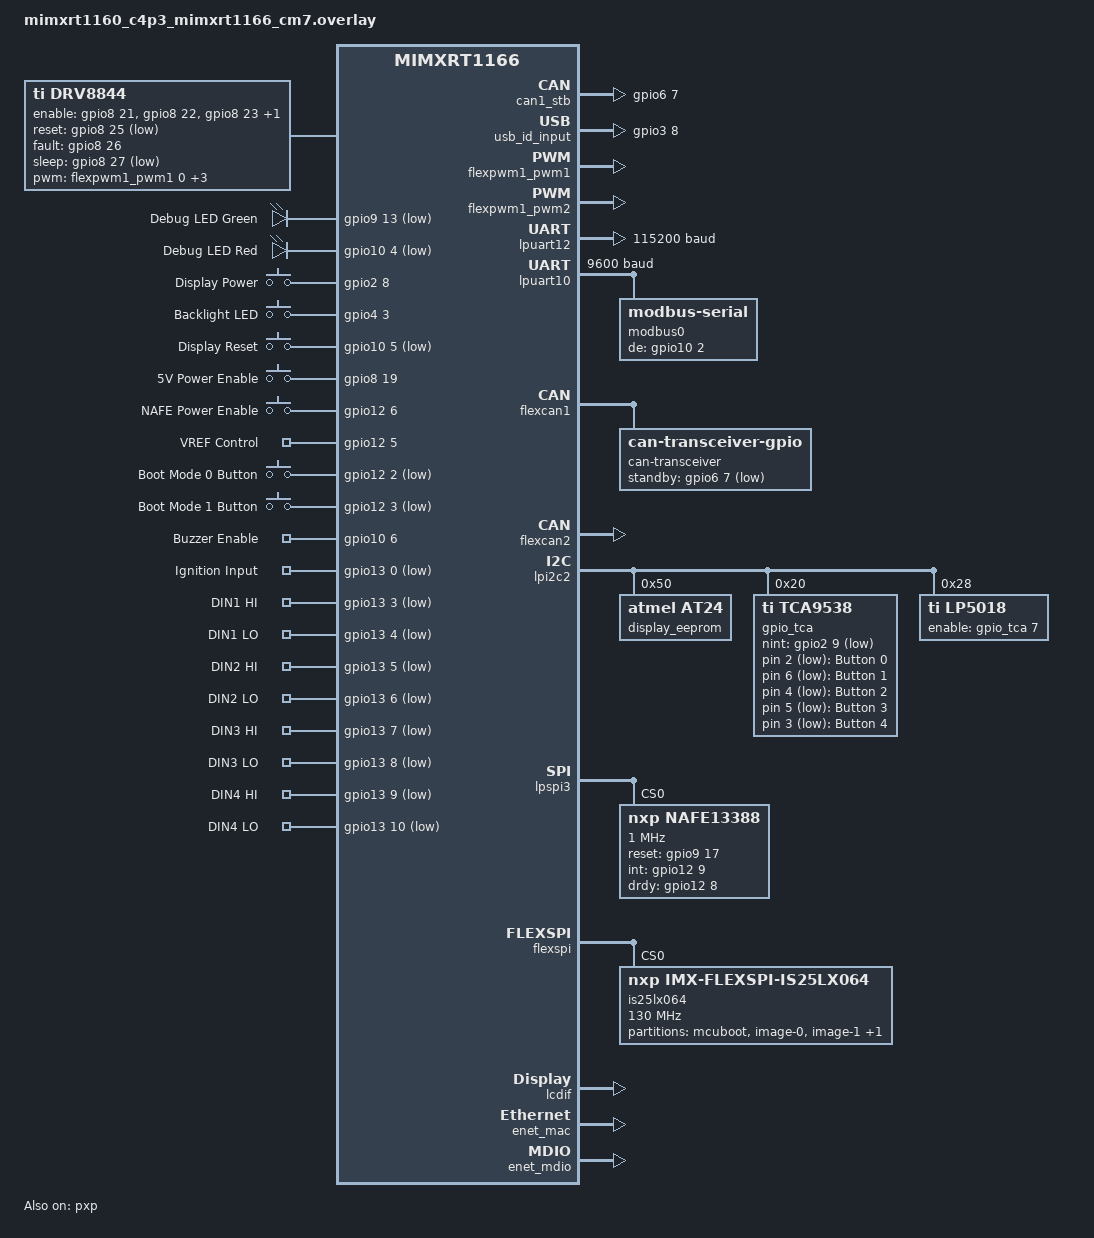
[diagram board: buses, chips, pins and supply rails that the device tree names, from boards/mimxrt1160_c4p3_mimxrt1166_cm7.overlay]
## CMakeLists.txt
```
cmake_minimum_required(VERSION 3.13.1)

find_package(Zephyr REQUIRED HINTS $ENV{ZEPHYR_BASE})

project(app LANGUAGES C)

# SPDX-License-Identifier: Apache-2.0

cmake_minimum_required(VERSION 3.20.0)

find_package(Zephyr REQUIRED HINTS $ENV{ZEPHYR_BASE})
project(uart_echo_bot)


target_sources(app PRIVATE 
    
    src/main.c
    src/host_msd_fatfs.c

    fatfs/source/fsl_usb_disk/fsl_usb_disk_bm.c 
    fatfs/source/diskio.c
    fatfs/source/ff.c 
    fatfs/source/ffsystem.c 
    fatfs/source/ffunicode.c
    )



target_include_directories(app PUBLIC 
    include
    src  
    fatfs/source
    fatfs/source/fsl_usb_disk
    )


target_compile_definitions(app PRIVATE LV_LVGL_H_INCLUDE_SIMPLE)
```

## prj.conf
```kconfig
# Copyright (c) 2021 Nordic Semiconductor ASA
# SPDX-License-Identifier: Apache-2.0
#
# This file contains selected Kconfig options for the application.

CONFIG_USB_HOST_VEETHREE=y

CONFIG_SERIAL=y
CONFIG_UART_CONSOLE=y
CONFIG_UART_INTERRUPT_DRIVEN=y
CONFIG_SHELL=y

CONFIG_LOG=y
CONFIG_LOG_BUFFER_SIZE=4096
CONFIG_MAIN_STACK_SIZE=8096
CONFIG_HEAP_MEM_POOL_SIZE=151072
CONFIG_EVENTS=y
CONFIG_DYNAMIC_INTERRUPTS=y
CONFIG_ASSERT=y
CONFIG_NO_OPTIMIZATIONS=n

CONFIG_NOCACHE_MEMORY=y
CONFIG_STREAM_FLASH_ERASE=y
CONFIG_REBOOT=y
CONFIG_FLASH=y
CONFIG_FLASH_MAP=y
CONFIG_STREAM_FLASH=y
CONFIG_IMG_MANAGER=y
CONFIG_MCUBOOT_IMG_MANAGER=y
CONFIG_USB_DEVICE_DRIVER=y
CONFIG_UHC_DRIVER=y
CONFIG_UHC_DRIVER=y
CONFIG_MPU_ALLOW_FLASH_WRITE=y
CONFIG_BOOTLOADER_MCUBOOT=n
CONFIG_MCUBOOT_BOOTUTIL_LIB=y


CONFIG_I2C=y
CONFIG_I2C_SHELL=y

CONFIG_GPIO=y
CONFIG_DMA=y
CONFIG_INPUT_GT911=n

# Benchmark Demo
CONFIG_LV_USE_FONT_COMPRESSED=y
```

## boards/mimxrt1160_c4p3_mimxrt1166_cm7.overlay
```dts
#include <zephyr/dt-bindings/display/panel.h>
#include <zephyr/dt-bindings/led/led.h>

/delete-node/ &green_led;
/delete-node/ &fxos8700;

/******************************************************************************/
/ {
    chosen {
        zephyr,flash-controller = &is25lx064;
        zephyr,flash = &is25lx064;
        zephyr,code-partition = &slot0_partition;
        zephyr,console = &lpuart12;
        zephyr,shell-uart = &lpuart12;
        zephyr,uart-mcumgr = &lpuart12;
        zephyr,sram = &sdram0;
        zephyr,display = &lcdif;
        zephyr,canbus = &flexcan1;
    };

    aliases {
        debug-uart = &lpuart12;
        led-green = &green_debug_led;
        led-red = &red_debug_led;

        drv8844 = &drv8844;
        modbus = &modbus0;
        i2c = &lpi2c2;

        button-led-driver = &lp5018;
        gpio-expander = &gpio_tca;

        power-tft-en = &display_power;
        backlight-led-en = &bkled;
        display-reset = &display_reset;
        power-5v-en = &power_5v_enable;
        nafe-pwr-en = &nafe_pwr_en;
        can1-stb = &can1_stb;
        vref-ctrl = &vref_ctrl;
        bm0-btn = &bm0_button;
        bm1-btn = &bm1_button;
        buzzer-en = &buzzer_en;
        
        board-button-0 = &board_button_0;
        board-button-1 = &board_button_1;
        board-button-2 = &board_button_2;
        board-button-3 = &board_button_3;
        board-button-4 = &board_button_4;

        usb-id-input = &usb_id_input;

        ignition-input = &ignition_input;

        digital-in-1-hi = &digital_in_1_hi;
        digital-in-1-low = &digital_in_1_low;
        digital-in-2-hi = &digital_in_2_hi;
        digital-in-2-low = &digital_in_2_low;
        digital-in-3-hi = &digital_in_3_hi;
        digital-in-3-low = &digital_in_3_low;
        digital-in-4-hi = &digital_in_4_hi;
        digital-in-4-low = &digital_in_4_low;       
        digital-in-port = &gpio13;

        canbus-nmea = &flexcan2;     
        
        /delete-property/ led0;
        /delete-property/ sw0;
        /delete-property/ magn0;
        /delete-property/ accel0;
        /delete-property/ mcuboot-button0;
        /delete-property/ sdhc0;
    };

    /delete-node/ led0;
    /delete-node/ sw0;  

    /******************************************************************************/
    /* DRV8844 */
    /******************************************************************************/
    drv8844: drv8844 {
		status = "okay";
		compatible = "ti,drv8844";   
        
		/* Two pairs of complementary PWM outputs, all set to 50 KHz */
		pwms = <&flexpwm1_pwm1 0 PWM_USEC(20) PWM_POLARITY_NORMAL>, 
		       <&flexpwm1_pwm1 1 PWM_USEC(20) PWM_POLARITY_NORMAL>, 
		       <&flexpwm1_pwm2 0 PWM_USEC(20) PWM_POLARITY_NORMAL>, 
		       <&flexpwm1_pwm2 1 PWM_USEC(20) PWM_POLARITY_NORMAL>;   

		enable-gpios = <&gpio8 21 GPIO_ACTIVE_HIGH>,    
		               <&gpio8 22 GPIO_ACTIVE_HIGH>,     
		               <&gpio8 23 GPIO_ACTIVE_HIGH>,     
		               <&gpio8 24 GPIO_ACTIVE_HIGH>;     

		reset-gpios = <&gpio8 25 GPIO_ACTIVE_LOW>;       
		fault-gpios = <&gpio8 26 GPIO_ACTIVE_HIGH>;       
        sleep-gpios = <&gpio8 27 GPIO_ACTIVE_LOW>;       
	};          

    /******************************************************************************/
    /* LEDs */
    /******************************************************************************/
    leds {
        green_debug_led: led-2 {
            gpios = <&gpio9 13 GPIO_ACTIVE_LOW>;    
            label = "Debug LED Green";
        };

        red_debug_led: led-3 {
            gpios = <&gpio10 4 GPIO_ACTIVE_LOW>;     
            label = "Debug LED Red";
        };
    };

    /******************************************************************************/
    /* GPIOs */
    /******************************************************************************/

    gpio_keys {
        display_power: display_power {
            label = "Display Power";
            gpios = <&gpio2 8 GPIO_ACTIVE_HIGH>;
            status = "okay";
        };

        bkled: bkled {
            label = "Backlight LED";
            gpios = <&gpio4 3 GPIO_ACTIVE_HIGH>;
            status = "okay";
        };

        display_reset: display_reset {
            label = "Display Reset";
            gpios = <&gpio10 5 GPIO_ACTIVE_LOW>;
            status = "okay";            
        };

        power_5v_enable: power_5v_enable {
            label = "5V Power Enable";
            gpios = <&gpio8 19 GPIO_ACTIVE_HIGH>;
            status = "okay";            
        };

        nafe_pwr_en: nafe_pwr_en {
            label = "NAFE Power Enable";
            gpios = <&gpio12 6 GPIO_ACTIVE_HIGH>;
            status = "okay";               
        };

        can1_stb: can1_stb {
            label = "CAN1 Transceiver STB";
            gpios = <&gpio6 7 GPIO_ACTIVE_LOW>;
            status = "okay";                 
        };

        vref_ctrl: vref_ctrl {
            label = "VREF Control";
            gpios = <&gpio12 5 GPIO_ACTIVE_HIGH>;
            status = "okay";                 
        };

        bm0_button: bm0_button {
            label = "Boot Mode 0 Button";
            gpios = <&gpio12 2 GPIO_ACTIVE_LOW>;
            status = "okay";               
        };

        bm1_button: bm1_button {
            label = "Boot Mode 1 Button";
            gpios = <&gpio12 3 GPIO_ACTIVE_LOW>;
            status = "okay";               
        };      
        
        buzzer_en: buzzer_en {
            label = "Buzzer Enable";
            gpios = <&gpio10 6 GPIO_ACTIVE_HIGH>;
            status = "okay";              
        };

        /* Button board */
        board_button_0: board_button_0 {
            label = "Button 0";
            gpios = <&gpio_tca 2 GPIO_ACTIVE_LOW>;
            status = "okay";              
        };

        board_button_1: board_button_1 {
            label = "Button 1";
            gpios = <&gpio_tca 6 GPIO_ACTIVE_LOW>;
            status = "okay";              
        };

        board_button_2: board_button_2 {
            label = "Button 2";
            gpios = <&gpio_tca 4 GPIO_ACTIVE_LOW>;
            status = "okay";              
        };

        board_button_3: board_button_3 {
            label = "Button 3";
            gpios = <&gpio_tca 5 GPIO_ACTIVE_LOW>;
            status = "okay";              
        };

        board_button_4: board_button_4 {
            label = "Button 4";
            gpios = <&gpio_tca 3 GPIO_ACTIVE_LOW>;
            status = "okay";              
        };

        /* USB ID input - connected to FUSB interrupt line */
        usb_id_input: usb_id_input {
            label = "USB ID Input";
            gpios = <&gpio3 8 GPIO_ACTIVE_LOW>;
            status = "okay";     
        };
        
        /* Digital input pins  in the SNVS domain */
        ignition_input: ignition_input {
            label = "Ignition Input";
            gpios = <&gpio13 0 GPIO_ACTIVE_LOW>;
            status = "okay";     
        };   
                
        digital_in_1_hi: digital_in_1_hi {
            label = "DIN1 HI";
            gpios = <&gpio13 3 GPIO_ACTIVE_LOW>;
            status = "okay";     
        };   
        
        digital_in_1_low: digital_in_1_low {
            label = "DIN1 LO";
            gpios = <&gpio13 4 GPIO_ACTIVE_LOW>;
            status = "okay";     
        };     
        
        digital_in_2_hi: digital_in_2_hi {
            label = "DIN2 HI";
            gpios = <&gpio13 5 GPIO_ACTIVE_LOW>;
            status = "okay";     
        };   
        
        digital_in_2_low: digital_in_2_low {
            label = "DIN2 LO";
            gpios = <&gpio13 6 GPIO_ACTIVE_LOW>;
            status = "okay";     
        };   

        digital_in_3_hi: digital_in_3_hi {
            label = "DIN3 HI";
            gpios = <&gpio13 7 GPIO_ACTIVE_LOW>;
            status = "okay";     
        };   
        
        digital_in_3_low: digital_in_3_low {
            label = "DIN3 LO";
            gpios = <&gpio13 8 GPIO_ACTIVE_LOW>;
            status = "okay";     
        };   

        digital_in_4_hi: digital_in_4_hi {
            label = "DIN4 HI";
            gpios = <&gpio13 9 GPIO_ACTIVE_LOW>;
            status = "okay";     
        };   
        
        digital_in_4_low: digital_in_4_low {
            label = "DIN4 LO";
            gpios = <&gpio13 10 GPIO_ACTIVE_LOW>;
            status = "okay";     
        };   

    };

};


/******************************************************************************/
/* ENABLE FLEXPWM1 PWM1/PWM2 */
/******************************************************************************/
/* Add new subnode to pinctrl, pin A - GPIO_AD_02, pin B - GPIO_AD_03 */
&pinctrl {
    pinmux_flexpwm1_pwm1: pinmux_flexpwm1_pwm1 {
        group0 {
            pinmux = <&iomuxc_gpio_ad_02_flexpwm1_pwm1_a>,
                     <&iomuxc_gpio_ad_03_flexpwm1_pwm1_b>;
            drive-strength = "high";
            bias-pull-down;
            slew-rate = "fast";
        };
        
    };

    pinmux_flexpwm1_pwm2: pinmux_flexpwm1_pwm2 {
        group0 {                     
            pinmux = <&iomuxc_gpio_ad_04_flexpwm1_pwm2_a>,
                     <&iomuxc_gpio_ad_05_flexpwm1_pwm2_b>;
            drive-strength = "high";
            bias-pull-down;
            slew-rate = "fast";
        };
    };    
};

/* Enable PWM1-1 and PWM1-2 using the newly created pinmux  */
&flexpwm1_pwm1 {
    status = "okay";
    pinctrl-0 = <&pinmux_flexpwm1_pwm1>;
    pinctrl-names = "default";
};

&flexpwm1_pwm2 {
    status = "okay";
    pinctrl-0 = <&pinmux_flexpwm1_pwm2>;
    pinctrl-names = "default";
};

/******************************************************************************/
/* DISABLE CAN3 - NOT USED */
/* Note - on the EVK board, there's a CAN transceiver soldered to LPUART's RX
and TX pins, which means it cannot be used. */
/******************************************************************************/
&flexcan3 {
    status = "disabled";
};

/******************************************************************************/
/* DEBUG UART IS LPUART12 - CAN'T BE USED WITH EVK */
/******************************************************************************/
&lpuart12 {
	status = "okay";
	current-speed = <115200>;
	pinctrl-0 = <&pinmux_lpuart12>;
	pinctrl-names = "default";     
};

/* Add subnode pinmux for lpuart12 */
&pinctrl {
    pinmux_lpuart12: pinmux_lpuart12 {
		group0 {
			pinmux = <&iomuxc_lpsr_gpio_lpsr_01_lpuart12_rx>,
				<&iomuxc_lpsr_gpio_lpsr_00_lpuart12_tx>;
			drive-strength = "high";
			slew-rate = "fast";
		};
	};
};

&lpuart1 {
    status = "disabled";
};

/******************************************************************************/
/* RS485 on LPUART12 */
/******************************************************************************/
&lpuart10 {
    status = "okay";
    current-speed = <9600>;
	pinctrl-0 = <&pinmux_lpuart10>;
	pinctrl-names = "default";      

    modbus0: modbus0 {
        compatible = "zephyr,modbus-serial";
        status = "okay";
        de-gpios = <&gpio10 2 GPIO_ACTIVE_HIGH>;	/* NOT TESTED */
    };       
};

/* Add subnode pinmux for lpuart12 */
&pinctrl {
    pinmux_lpuart10: pinmux_lpuart10 {
		group0 {
			pinmux = <&iomuxc_gpio_ad_16_lpuart10_rx>,
				<&iomuxc_gpio_ad_15_lpuart10_tx>;
			drive-strength = "high";
			slew-rate = "fast";
		};
	};
};


/******************************************************************************/
/* CANBUS */
/******************************************************************************/
&pinctrl {
    pinmux_can2: pinmux_can2 {
		group0 {
			pinmux = <&iomuxc_gpio_ad_01_can2_rx>,
				<&iomuxc_gpio_ad_00_can2_tx>;
			drive-strength = "high";
			slew-rate = "fast";
		};
	};

    pinmux_can1: pinmux_can1 {
		group0 {
			pinmux = <&iomuxc_gpio_ad_07_can1_rx>,
				<&iomuxc_gpio_ad_06_can1_tx>;
			drive-strength = "high";
			slew-rate = "fast";
		};
	};    
};

/* CANFD 
Standby pin low - normal operation, high: standby. It has external pull-up
*/
&flexcan1 {
    status = "okay";
	pinctrl-0 = <&pinmux_can1>;
	pinctrl-names = "default";    
    can-transceiver {
        compatible = "can-transceiver-gpio";
        max-bitrate = < 1000000 >;
        standby-gpios = <&gpio6 7 GPIO_ACTIVE_LOW>; /* Standby pin controlled by driver */
        #phy-cells = <0>;
    };          
};

/* NMEA2000 */
&flexcan2 {
    status = "okay";
	pinctrl-0 = <&pinmux_can2>;
	pinctrl-names = "default";    
    can-transceiver {
        max-bitrate = < 250000 >;
    };          
};

/******************************************************************************/
/* I2C */
/******************************************************************************/
&lpi2c2 {
    status = "okay";
    pinctrl-0 = <&pinmux_lpi2c2>;
    pinctrl-names = "default";

    /* Display EEPROM. Not sure about the chip; not tested */
    display_eeprom: eeprom@50 {
        compatible = "atmel,at24";
        status = "okay";
        reg = <0x50>;
        size = <1024>;
        pagesize = <32>;
        address-width = <8>;
        timeout = <5>;
    };

    /* TCA6408 I2C GPIO Expander on button board. It 'may' work with tca9538 driver,
    needs testing */
    gpio_tca: tca6408@20 {
        compatible = "ti,tca9538";
        status = "okay";
        reg = <0x20>;
        ngpios = <0x8>;
        #gpio-cells = <0x2>;
        gpio-controller;
        nint-gpios = <&gpio2 9 GPIO_ACTIVE_LOW>; 
    };

    /* LED driver on button board */
    lp5018: lp5018@28 {
        compatible = "ti,lp5018";
        status = "okay";
        reg = <0x28>;  
        enable-gpios = <&gpio_tca 7 GPIO_ACTIVE_HIGH>;      

		btn_led_0 {
			label = "Button 0 LED";
			index = <0>;
			color-mapping =
				<LED_COLOR_ID_RED>,
				<LED_COLOR_ID_GREEN>,
				<LED_COLOR_ID_BLUE>;
		};
		btn_led_1 {
			label = "Button 1 LED";
			index = <1>;
			color-mapping =
				<LED_COLOR_ID_RED>,
				<LED_COLOR_ID_GREEN>,
				<LED_COLOR_ID_BLUE>;
		};
		btn_led_2 {
			label = "Button 2 LED";
			index = <2>;
			color-mapping =
				<LED_COLOR_ID_RED>,
				<LED_COLOR_ID_GREEN>,
				<LED_COLOR_ID_BLUE>;
		};
		btn_led_3 {
			label = "Button 3 LED";
			index = <3>;
			color-mapping =
				<LED_COLOR_ID_RED>,
				<LED_COLOR_ID_GREEN>,
				<LED_COLOR_ID_BLUE>;
		};
		btn_led_4 {
			label = "Button 4 LED";
			index = <4>;
			color-mapping =
				<LED_COLOR_ID_RED>,
				<LED_COLOR_ID_GREEN>,
				<LED_COLOR_ID_BLUE>;
		};
    };
};

&lpi2c5 {
    status = "disabled";
};

&lpi2c3 {
    status = "disabled";
};

&pinctrl {
    pinmux_lpi2c2: pinmux_lpi2c2 {
        group0 {
            pinmux = <&iomuxc_gpio_emc_b2_00_lpi2c2_scl>,
                     <&iomuxc_gpio_emc_b2_01_lpi2c2_sda>;
            drive-strength = "normal";
            drive-open-drain;
            slew-rate = "fast";
            input-enable;
        };
    };
};

&lpi2c1 {
    status = "disabled";
};

/******************************************************************************/
/* NAFE ON LPSPI3 */
/******************************************************************************/

&pinctrl {
	pinmux_lpspi3: pinmux_lpspi3 {
		group0 {
			pinmux = <&iomuxc_gpio_emc_b2_05_lpspi3_pcs0>,
				<&iomuxc_gpio_emc_b2_04_lpspi3_sck>,
				<&iomuxc_gpio_emc_b2_07_lpspi3_sdi>,
				<&iomuxc_gpio_emc_b2_06_lpspi3_sdo>;
			drive-strength = "high";
			slew-rate = "fast";
		};
	};
};

&lpspi3 {
    status = "okay";
    pinctrl-0 = <&pinmux_lpspi3>;
    pinctrl-names = "default";

    /* NAFE should not be initialized by Zephyr, as it is manually powered
    by the application */
    nafe13388: nafe13388@0 {
        status = "okay";
        zephyr,deferred-init;

        compatible = "nxp,nafe13388";
        reset-gpios = <&gpio9 17 GPIO_ACTIVE_HIGH>;
        int-gpios = <&gpio12 9 GPIO_ACTIVE_HIGH>;
        drdy-gpios = <&gpio12 8 GPIO_ACTIVE_HIGH>;
        spi-addr = <0>;

        // SPI specific properties
        reg = <0>;    // The chip select
        spi-max-frequency = <1000000>; 
    };
};

&lpspi1 {
    status = "disabled";
};


/******************************************************************************/
/* OCTAL FLASH NODE ON FLEXSPI - ISSI IS25LX064-JHLE 64 Mbit / 8 MByte */
/******************************************************************************/
&flexspi {
    /* Get rid of quad flash node on flexspi */
    /delete-node/ is25wp128@0;

    /* Add octal flash node to flexspi. Node copied from  EVK's config; driver in drivers/ folder is a verbatim
    copy of mx25um51345g driver */
    /* If things fail, search for 'is25lx064' in dts.cmake - check assigned properties */
    is25lx064: is25lx064@0 {
        compatible = "nxp,imx-flexspi-is25lx064";
        size = <DT_SIZE_M(8 * 8)>;
        reg = <0>;
        spi-max-frequency = <130000000>;
        status = "okay";
        jedec-id = [ 9d 5a 17 ];
        erase-block-size = <4096>;
        write-block-size = <2>; /* FLASH_MCUX_FLEXSPI_IS25LX064_OPI_DTR set */

        partitions {
            compatible = "fixed-partitions";
            #address-cells = <1>;
            #size-cells = <1>;

            boot_partition: partition@0 {
                label = "mcuboot";
                reg = <0x00000000 DT_SIZE_K(128)>;
            };
            /* The MCUBoot swap-move algorithm uses the last 3 sectors
             * of the primary slot0 for swap status and move.
             */
            slot0_partition: partition@20000 {
                label = "image-0";
                reg = <0x00020000 (DT_SIZE_M(3) + DT_SIZE_K(3 * 4))>; 
            };
            slot1_partition: partition@323000 {
                label = "image-1";
                reg = <0x00323000 DT_SIZE_M(3)>;
            };
            storage_partition: partition@623000 {
                label = "storage";
                reg = <0x00623000 (DT_SIZE_M(2) - DT_SIZE_K(140))>;
            };
        };
    };    
};

/******************************************************************************/
/* SDRAM - 32 MB */
/******************************************************************************/
&sdram0 {
    status = "okay";
    device_type = "memory";
    reg = <0x80000000 DT_SIZE_M(32)>;  
};

/******************************************************************************/
/* ARM PLL - PROCESSOR ***CVM5A RUNS ON 500 MHz MAX */
/* If you change ARM PLL to a value different than 300 MHz, remember to
update SYS_CLOCK_HW_CYCLES_PER_SEC */
/******************************************************************************/
&arm_pll {
	clock-mult = <82>;
	clock-div = <4>;
    // ARM PLL clock = (24 MHz * clock-mult) / clock-div
    // To set clock at 492 MHz, set clock-mult to 82 and clock-div to 4
    // To set clock at 300 MHz, set clock-mult to 100 and clock-div to 8
};

/******************************************************************************/
/* ELCFIF */
/******************************************************************************/
&lcdif {
	status = "okay";
	width = <480>;
	height = <272>;
    pinctrl-0 = < &pinmux_lcdif >;
    pinctrl-names = "default";

	display-timings {
		compatible = "zephyr,panel-timing";

		hsync-len = <41>;
		hfront-porch = <2>;
		hback-porch = <2>;

		vsync-len = <10>;
		vfront-porch = <2>;
		vback-porch = <2>;

		de-active= <1>;

		pixelclk-active = <0>;
		hsync-active = <1>;
		vsync-active = <1>;

        clock-frequency = <12000000>;
	};

    pixel-format = <PANEL_PIXEL_FORMAT_ARGB_8888>;    
	data-bus-width = "24-bit";
    backlight-gpios = < &gpio4 0x3 0x0 >;
};

&pinmux_lcdif {
    group0 {
        pinmux = 
            <&iomuxc_gpio_disp_b1_00_video_mux_lcdif_clk>,
            <&iomuxc_gpio_disp_b1_01_video_mux_lcdif_enable>,
            <&iomuxc_gpio_disp_b1_02_video_mux_lcdif_hsync>,
            <&iomuxc_gpio_disp_b1_03_video_mux_lcdif_vsync>,
            <&iomuxc_gpio_disp_b1_04_video_mux_lcdif_data00>,
            <&iomuxc_gpio_disp_b1_05_video_mux_lcdif_data01>,
            <&iomuxc_gpio_disp_b1_06_video_mux_lcdif_data02>,
            <&iomuxc_gpio_disp_b1_07_video_mux_lcdif_data03>,
            <&iomuxc_gpio_disp_b1_08_video_mux_lcdif_data04>,
            <&iomuxc_gpio_disp_b1_09_video_mux_lcdif_data05>,
            <&iomuxc_gpio_disp_b1_10_video_mux_lcdif_data06>,
            <&iomuxc_gpio_disp_b1_11_video_mux_lcdif_data07>,
            <&iomuxc_gpio_disp_b2_00_video_mux_lcdif_data08>,
            <&iomuxc_gpio_disp_b2_01_video_mux_lcdif_data09>,
            <&iomuxc_gpio_disp_b2_02_video_mux_lcdif_data10>,
            <&iomuxc_gpio_disp_b2_03_video_mux_lcdif_data11>,
            <&iomuxc_gpio_disp_b2_04_video_mux_lcdif_data12>,
            <&iomuxc_gpio_disp_b2_05_video_mux_lcdif_data13>,
            <&iomuxc_gpio_disp_b2_06_video_mux_lcdif_data14>,
            <&iomuxc_gpio_disp_b2_07_video_mux_lcdif_data15>,
            <&iomuxc_gpio_disp_b2_08_video_mux_lcdif_data16>,
            <&iomuxc_gpio_disp_b2_09_video_mux_lcdif_data17>,
            <&iomuxc_gpio_disp_b2_10_video_mux_lcdif_data18>,
            <&iomuxc_gpio_disp_b2_11_video_mux_lcdif_data19>,
            <&iomuxc_gpio_disp_b2_12_video_mux_lcdif_data20>,
            <&iomuxc_gpio_disp_b2_13_video_mux_lcdif_data21>,
            <&iomuxc_gpio_disp_b2_14_video_mux_lcdif_data22>,
            <&iomuxc_gpio_disp_b2_15_video_mux_lcdif_data23>;
			bias-pull-down;
			slew-rate = "slow";
        };
        /delete-node/ group1;
};

&pxp {
    status = "okay";
};

/******************************************************************************/
/* ETHERNET */
/******************************************************************************/

&pinmux_enet {
    group0 {
        pinmux = <&iomuxc_gpio_ad_13_gpio9_io12>,
            <&iomuxc_gpio_ad_24_enet_rx_en>,		
            <&iomuxc_gpio_ad_25_enet_rx_er>;		
        drive-strength = "high";
        bias-pull-down;
        slew-rate = "fast";
    };
    group1 {
        pinmux = <&iomuxc_gpio_ad_26_enet_rdata00>,	
            <&iomuxc_gpio_ad_27_enet_rdata01>;		
        drive-strength = "high";
        bias-pull-down;
        slew-rate = "fast";
        input-enable;
    };
    group2 {
        pinmux = <&iomuxc_lpsr_gpio_lpsr_04_gpio12_io04>;
        drive-strength = "high";
        bias-pull-up;
        slew-rate = "fast";
    };
    group3 {
        pinmux = <&iomuxc_gpio_ad_30_enet_tdata00>,	
            <&iomuxc_gpio_ad_31_enet_tdata01>,		
            <&iomuxc_gpio_ad_28_enet_tx_en>;		
        drive-strength = "high";
        slew-rate = "fast";
    };
    group4 {
        pinmux = <&iomuxc_gpio_ad_29_enet_ref_clk>;	
        drive-strength = "high";
        slew-rate = "slow";
        input-enable;
    };
};

&enet_mac {
    status = "okay";
    /delete-property/ zephyr,random-mac-address;
    local-mac-address = [02 04 9F B0 0B 55];  // Fixed MAC Address. Note that unique MAC address results in last three bytes being zeroes
    // Attempting to read hardware ID with hwinfo_get_device_eui64() returns zeroes
    // Fused mac results in DA:00:00:00:DA:00
};

&enet_mdio {
    status = "okay";
};

&enet_ptp_clock {
    status = "okay";
};

&phy {
    int-gpios = < &gpio9 17 0x0 >;
    reset-gpios = <&gpio9 18 0x0 >;
    microchip,interface-type = "rmii-25MHz";
};
```

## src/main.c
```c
/*
 * Copyright (c) 2016 Intel Corporation
 *
 * SPDX-License-Identifier: Apache-2.0
 */
// flash includes...

#include <stdio.h>
#include <zephyr/kernel.h>
#include <zephyr/device.h>
#include <zephyr/devicetree.h>
#include <zephyr/drivers/gpio.h>
#include <zephyr/irq.h>

#include "board.h"
#include "usb_host_config.h"
#include "usb_host.h"
#include "fsl_device_registers.h"
#include "fsl_common.h"


#include "usb_phy.h"
#include "usb_host_msd.h"
#include "host_msd_fatfs.h"
#include "app.h"

#include "zephyr/dfu/mcuboot.h"
#include "/workdir/modules/hal/nxp/mcux/mcux-sdk/devices/MIMXRT1166/MIMXRT1166_cm7_features.h"

#define LOG_LEVEL CONFIG_LOG_DEFAULT_LEVEL
#include <zephyr/logging/log.h>
LOG_MODULE_REGISTER(app);

bool usb_attached = false;

static void anim_x_cb(void * var, int32_t v);
void lv_example_anim_2(void);
static void anim_size_cb(void * var, int32_t v);


#if ((!USB_HOST_CONFIG_KHCI) && (!USB_HOST_CONFIG_EHCI) && (!USB_HOST_CONFIG_OHCI) && (!USB_HOST_CONFIG_IP3516HS))
#error Please enable USB_HOST_CONFIG_KHCI, USB_HOST_CONFIG_EHCI, USB_HOST_CONFIG_OHCI, or USB_HOST_CONFIG_IP3516HS in file usb_host_config.
#endif

/* change this to any other UART peripheral if desired */
#define UART_DEVICE_NODE DT_CHOSEN(zephyr_shell_uart)


static const struct device *const uart_dev = DEVICE_DT_GET(UART_DEVICE_NODE);

/*!
 * @brief host callback function.
 *
 * device attach/detach callback function.
 *
 * @param deviceHandle        device handle.
 * @param configurationHandle attached device's configuration descriptor information.
 * @param eventCode           callback event code, please reference to enumeration host_event_t.
 *
 * @retval kStatus_USB_Success              The host is initialized successfully.
 * @retval kStatus_USB_NotSupported         The application don't support the configuration.
 */
static usb_status_t USB_HostEvent(usb_device_handle deviceHandle,
                                  usb_host_configuration_handle configurationHandle,
                                  uint32_t eventCode);



static void USB_HostApplicationInit(void);


/*! @brief USB host msd fatfs instance global variable */
extern usb_host_msd_fatfs_instance_t g_MsdFatfsInstance;
usb_host_handle g_HostHandle;

/* Run USB stack on a separate thread */


/******************************************************************************/
/* Functions */
/******************************************************************************/

void start_update_process(bool updating);
void stop_read_usb(void);

static bool stopReadingUsb = false;

char count_str[11] = {0};
bool updateInProgress = false;

#define SEM_COUNT_INITAL 0
#define SEM_COUNT_MAX 1


/******************************************************************************/
void start_update_process(bool updating)
{
    updateInProgress = updating;
}

void dynamic_usb_isr(const void *param)
{
    USB_HostEhciIsrFunction(g_HostHandle);
}



void update_progress_bar(uint32_t fileSizeInBytes, size_t bytesRead)
{
    uint32_t percentageComplete = 0;
    percentageComplete = (bytesRead * 100) / fileSizeInBytes;
    char buffer[100];

    snprintf(buffer, sizeof(buffer), 
        "\rUpdate in progress... %d %%   |   Bytes written: %d / %d", percentageComplete, bytesRead, fileSizeInBytes);

    printf(buffer);
   
}

/******************************************************************************/

struct device *display_dev;
int main(void)
{
    USB_HostApplicationInit();
    const struct device *pointer;
    

    while (1)
    {        
        USB_HostTaskFn(g_HostHandle);
        USB_HostMsdTask(&g_MsdFatfsInstance);      
        usb_update_task();
        k_msleep(1);
    }

    return 0;
}



/*******************************************************************************/
void USB_HostClockInit(void)
{
    usb_phy_config_struct_t phyConfig = {
        BOARD_USB_PHY_D_CAL,
        BOARD_USB_PHY_TXCAL45DP,
        BOARD_USB_PHY_TXCAL45DM,
    };

    if (CONTROLLER_ID == kUSB_ControllerEhci0) //480000000UL
    {
         CLOCK_EnableUsbhs0PhyPllClock(kCLOCK_Usbphy480M, 24000000); //24000000
        CLOCK_EnableUsbhs0Clock(kCLOCK_Usb480M, 24000000); //24000000

    }
    else
    {
          CLOCK_EnableUsbhs0PhyPllClock(kCLOCK_Usbphy480M, 24000000); //24000000
        CLOCK_EnableUsbhs0Clock(kCLOCK_Usb480M, 24000000); //24000000

    }                                                     
    usb_status_t stat = USB_EhciPhyInit(CONTROLLER_ID, BOARD_XTAL0_CLK_HZ, &phyConfig);
   usb_echo("stat %d", stat);
}

void USB_HostIsrEnable(void)
{
    uint8_t irqNumber;

    uint8_t usbHOSTEhciIrq[] = USBHS_IRQS;
    irqNumber = usbHOSTEhciIrq[CONTROLLER_ID - kUSB_ControllerEhci0];

    irq_connect_dynamic(136, USB_HOST_INTERRUPT_PRIORITY, dynamic_usb_isr, NULL, 0);
    irq_enable(136);
}

/*******************************************************************************/
void USB_HostTaskFn(void *param)
{
    USB_HostEhciTaskFunction(param);
}

/*******************************************************************************/
/*!
 * @brief USB isr function.
 */

static usb_status_t USB_HostEvent(usb_device_handle deviceHandle,
                                  usb_host_configuration_handle configurationHandle,
                                  uint32_t eventCode)
{
     
    usb_status_t status = kStatus_USB_Success;
    switch (eventCode & 0x0000FFFFU)
    {
    case kUSB_HostEventAttach:
        printf("kUSB_HostEventAttach\r\n");
        status = USB_HostMsdEvent(deviceHandle, configurationHandle, eventCode);
        stopReadingUsb = false;
        usb_attached = true;
        break;

    case kUSB_HostEventNotSupported:
        LOG_INF("Unsupported Device\r\n");

        break;

    case kUSB_HostEventEnumerationDone:
        status = USB_HostMsdEvent(deviceHandle, configurationHandle, eventCode);
        break;

    case kUSB_HostEventDetach:
        printf("kUSB_HostEventDetach\r\n");
        status = USB_HostMsdEvent(deviceHandle, configurationHandle, eventCode);
        stopReadingUsb = true;
        usb_attached = false;
        break;

    case kUSB_HostEventEnumerationFail:
        LOG_INF("enumeration failed\r\n");
        break;

    default:
        break;
    }
    return status;
}

/******************************************************************************/
static void USB_HostApplicationInit(void)
{
    usb_status_t status = kStatus_USB_Success;

    USB_HostClockInit();

    status = USB_HostInit(CONTROLLER_ID, &g_HostHandle, USB_HostEvent);
    if (status != kStatus_USB_Success)
    {
        LOG_INF("host init error\r\n");
        return;
    }
    USB_HostIsrEnable();

    LOG_INF("host init done\r\n");
};
```

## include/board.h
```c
/*
 * Copyright 2021 NXP
 * All rights reserved.
 *
 * SPDX-License-Identifier: BSD-3-Clause
 */
#ifndef _BOARD_H_
#define _BOARD_H_
#include "clock_config.h"
#include "fsl_common.h"
#include "fsl_gpio.h"
#include "fsl_clock.h"
/*******************************************************************************
 * Definitions
 ******************************************************************************/
/*! @brief The board name */
#define BOARD_NAME "MIMXRT1160-EVK"
#ifndef DEBUG_CONSOLE_UART_INDEX
#define DEBUG_CONSOLE_UART_INDEX 1
#endif
/* The UART to use for debug messages. */
#define BOARD_DEBUG_UART_TYPE     kSerialPort_Uart
#define BOARD_DEBUG_UART_CLK_FREQ 24000000
#if DEBUG_CONSOLE_UART_INDEX == 1
#define BOARD_DEBUG_UART_BASEADDR (uint32_t) LPUART1
#define BOARD_DEBUG_UART_INSTANCE 1U
#define BOARD_UART_IRQ            LPUART1_IRQn
#define BOARD_UART_IRQ_HANDLER    LPUART1_IRQHandler
#elif DEBUG_CONSOLE_UART_INDEX == 2
#define BOARD_DEBUG_UART_BASEADDR (uint32_t) LPUART2
#define BOARD_DEBUG_UART_INSTANCE 2U
#define BOARD_UART_IRQ            LPUART2_IRQn
#define BOARD_UART_IRQ_HANDLER    LPUART2_IRQHandler
#elif DEBUG_CONSOLE_UART_INDEX == 12
#define BOARD_DEBUG_UART_BASEADDR (uint32_t) LPUART12
#define BOARD_DEBUG_UART_INSTANCE 12U
#define BOARD_UART_IRQ            LPUART12_IRQn
#define BOARD_UART_IRQ_HANDLER    LPUART12_IRQHandler
#else
#error "Unsupported UART"
#endif
#ifndef BOARD_DEBUG_UART_BAUDRATE
#define BOARD_DEBUG_UART_BAUDRATE (115200U)
#endif /* BOARD_DEBUG_UART_BAUDRATE */
/* Definitions for eRPC MU transport layer */
#if defined(FSL_FEATURE_MU_SIDE_A)
#define MU_BASE        MUA
#define MU_IRQ         MUA_IRQn
#define MU_IRQ_HANDLER MUA_IRQHandler
#endif
#if defined(FSL_FEATURE_MU_SIDE_B)
#define MU_BASE        MUB
#define MU_IRQ         MUB_IRQn
#define MU_IRQ_HANDLER MUB_IRQHandler
#endif
#define MU_IRQ_PRIORITY (2)
/*! @brief The USER_LED used for board */
#define LOGIC_LED_ON  (0U)
#define LOGIC_LED_OFF (1U)
#ifndef BOARD_USER_LED_GPIO
#define BOARD_USER_LED_GPIO GPIO9
#endif
#ifndef BOARD_USER_LED_GPIO_PIN
#define BOARD_USER_LED_GPIO_PIN (3U)
#endif
#define USER_LED_INIT(output)                                            \
    GPIO_PinWrite(BOARD_USER_LED_GPIO, BOARD_USER_LED_GPIO_PIN, output); \
    BOARD_USER_LED_GPIO->GDIR |= (1U << BOARD_USER_LED_GPIO_PIN) /*!< Enable target USER_LED */
#define USER_LED_OFF() \
    GPIO_PortClear(BOARD_USER_LED_GPIO, 1U << BOARD_USER_LED_GPIO_PIN)                 /*!< Turn off target USER_LED */
#define USER_LED_ON() GPIO_PortSet(BOARD_USER_LED_GPIO, 1U << BOARD_USER_LED_GPIO_PIN) /*!<Turn on target USER_LED*/
#define USER_LED_TOGGLE()                                       \
    GPIO_PinWrite(BOARD_USER_LED_GPIO, BOARD_USER_LED_GPIO_PIN, \
                  0x1 ^ GPIO_PinRead(BOARD_USER_LED_GPIO, BOARD_USER_LED_GPIO_PIN)) /*!< Toggle target USER_LED */
/*! @brief Define the port interrupt number for the board switches */
#ifndef BOARD_USER_BUTTON_GPIO
#define BOARD_USER_BUTTON_GPIO GPIO13
#endif
#ifndef BOARD_USER_BUTTON_GPIO_PIN
#define BOARD_USER_BUTTON_GPIO_PIN (0U)
#endif
#define BOARD_USER_BUTTON_IRQ         GPIO13_Combined_0_31_IRQn
#define BOARD_USER_BUTTON_IRQ_HANDLER GPIO13_Combined_0_31_IRQHandler
#define BOARD_USER_BUTTON_NAME        "SW7"
/*! @brief The board flash size */
#define BOARD_FLASH_SIZE (0x1000000U)
/* SKIP_SEMC_INIT can also be defined independently */
#ifdef USE_SDRAM
#define SKIP_SEMC_INIT
#endif
/*! @brief The ENET0 PHY address. */
#define BOARD_ENET0_PHY_ADDRESS (0x02U) /* Phy address of enet port 0. */
/*! @brief The ENET1 PHY address. */
#define BOARD_ENET1_PHY_ADDRESS (0x01U) /* Phy address of enet port 1. */
/*! @brief The EMVSIM SMARTCARD PHY configuration. */
#define BOARD_SMARTCARD_MODULE                (EMVSIM1)      /*!< SMARTCARD communicational module instance */
#define BOARD_SMARTCARD_MODULE_IRQ            (EMVSIM1_IRQn) /*!< SMARTCARD communicational module IRQ handler */
#define BOARD_SMARTCARD_CLOCK_MODULE_CLK_FREQ (CLOCK_GetRootClockFreq(kCLOCK_Root_Emv1))
#define BOARD_SMARTCARD_CLOCK_VALUE           (4000000U) /*!< SMARTCARD clock frequency */
/* USB PHY condfiguration */
#define BOARD_USB_PHY_D_CAL     (0x07U)
#define BOARD_USB_PHY_TXCAL45DP (0x06U)
#define BOARD_USB_PHY_TXCAL45DM (0x06U)
#define BOARD_ARDUINO_INT_IRQ   (GPIO1_INT3_IRQn)
#define BOARD_ARDUINO_I2C_IRQ   (LPI2C1_IRQn)
#define BOARD_ARDUINO_I2C_INDEX (1)
#define BOARD_HAS_SDCARD (1U)
/* @Brief Board accelerator sensor configuration */
#define BOARD_ACCEL_I2C_BASEADDR LPI2C5
/* Clock divider for LPI2C clock source */
#define BOARD_ACCEL_I2C_CLOCK_FREQ (CLOCK_GetRootClockFreq(kCLOCK_Root_Lpi2c5))
#define BOARD_CODEC_I2C_BASEADDR             LPI2C5
#define BOARD_CODEC_I2C_INSTANCE             5U
#define BOARD_CODEC_I2C_CLOCK_SOURCE_SELECT  (0U)
#define BOARD_CODEC_I2C_CLOCK_SOURCE_DIVIDER (6U)
#define BOARD_CODEC_I2C_CLOCK_FREQ           (24000000U)
/* @Brief Board CAMERA configuration */
#define BOARD_CAMERA_I2C_BASEADDR      LPI2C6
#define BOARD_CAMERA_I2C_CLOCK_ROOT    kCLOCK_Root_Lpi2c6
#define BOARD_CAMERA_I2C_CLOCK_SOURCE  (1U)  /* OSC24M. */
#define BOARD_CAMERA_I2C_CLOCK_DIVIDER (12U) /* Divider = 12, LPI2C clock frequency 2M. */
/*! @brief The MIPI panel pins. */
#define BOARD_MIPI_PANEL_RST_GPIO   GPIO9
#define BOARD_MIPI_PANEL_RST_PIN    1
#define BOARD_MIPI_PANEL_POWER_GPIO GPIO11
#define BOARD_MIPI_PANEL_POWER_PIN  16
/* Back light pin. */
#define BOARD_MIPI_PANEL_BL_GPIO GPIO9
#define BOARD_MIPI_PANEL_BL_PIN  29
/* Touch panel. */
#define BOARD_MIPI_PANEL_TOUCH_I2C_BASEADDR      LPI2C5
#define BOARD_MIPI_PANEL_TOUCH_I2C_CLOCK_ROOT    kCLOCK_Root_Lpi2c5
#define BOARD_MIPI_PANEL_TOUCH_I2C_CLOCK_SOURCE  (1U)  /* OSC24M. */
#define BOARD_MIPI_PANEL_TOUCH_I2C_CLOCK_DIVIDER (12U) /* Divider = 12, LPI2C clock frequency 2M. */
#define BOARD_MIPI_PANEL_TOUCH_I2C_CLOCK_FREQ    CLOCK_GetRootClockFreq(BOARD_MIPI_PANEL_TOUCH_I2C_CLOCK_ROOT)
#define BOARD_MIPI_PANEL_TOUCH_RST_GPIO          GPIO9
#define BOARD_MIPI_PANEL_TOUCH_RST_PIN           0
#define BOARD_MIPI_PANEL_TOUCH_INT_GPIO          GPIO8
#define BOARD_MIPI_PANEL_TOUCH_INT_PIN           31
/*! @brief The camera pins. */
#define BOARD_CAMERA_PWDN_GPIO GPIO9
#define BOARD_CAMERA_PWDN_PIN  25
#define BOARD_CAMERA_RST_GPIO  GPIO11
#define BOARD_CAMERA_RST_PIN   15
/* SD card detection method when using wifi module. */
#define BOARD_WIFI_SD_DETECT_TYPE kSDMMCHOST_DetectCardByHostDATA3
#define BOARD_BT_UART_INSTANCE    7
#define BOARD_BT_UART_BAUDRATE    3000000
#define BOARD_BT_UART_CLK_FREQ    CLOCK_GetRootClockFreq(kCLOCK_Root_Lpuart7);
#define BOARD_BT_UART_IRQ         LPUART7_IRQn
#define BOARD_BT_UART_IRQ_HANDLER LPUART7_IRQHandler
/*! @brief The Ethernet port used by network examples, default use 1G port. */
/* Below comment is for test script to easily define which port to be used, please don't delete. */
/* @TEST_ANCHOR */
#ifndef BOARD_NETWORK_USE_100M_ENET_PORT
#define BOARD_NETWORK_USE_100M_ENET_PORT (0U)
#endif
#if defined(__cplusplus)
extern "C" {
#endif /* __cplusplus */
/*******************************************************************************
 * API
 ******************************************************************************/
uint32_t BOARD_DebugConsoleSrcFreq(void);
void BOARD_InitDebugConsole(void);
void BOARD_ConfigMPU(void);
#if defined(SDK_I2C_BASED_COMPONENT_USED) && SDK_I2C_BASED_COMPONENT_USED
void BOARD_LPI2C_Init(LPI2C_Type *base, uint32_t clkSrc_Hz);
status_t BOARD_LPI2C_Send(LPI2C_Type *base,
                          uint8_t deviceAddress,
                          uint32_t subAddress,
                          uint8_t subaddressSize,
                          uint8_t *txBuff,
                          uint8_t txBuffSize);
status_t BOARD_LPI2C_Receive(LPI2C_Type *base,
                             uint8_t deviceAddress,
                             uint32_t subAddress,
                             uint8_t subaddressSize,
                             uint8_t *rxBuff,
                             uint8_t rxBuffSize);
status_t BOARD_LPI2C_SendSCCB(LPI2C_Type *base,
                              uint8_t deviceAddress,
                              uint32_t subAddress,
                              uint8_t subaddressSize,
                              uint8_t *txBuff,
                              uint8_t txBuffSize);
status_t BOARD_LPI2C_ReceiveSCCB(LPI2C_Type *base,
                                 uint8_t deviceAddress,
                                 uint32_t subAddress,
                                 uint8_t subaddressSize,
                                 uint8_t *rxBuff,
                                 uint8_t rxBuffSize);
void BOARD_Accel_I2C_Init(void);
status_t BOARD_Accel_I2C_Send(uint8_t deviceAddress, uint32_t subAddress, uint8_t subaddressSize, uint32_t txBuff);
status_t BOARD_Accel_I2C_Receive(
    uint8_t deviceAddress, uint32_t subAddress, uint8_t subaddressSize, uint8_t *rxBuff, uint8_t rxBuffSize);
void BOARD_Codec_I2C_Init(void);
status_t BOARD_Codec_I2C_Send(
    uint8_t deviceAddress, uint32_t subAddress, uint8_t subAddressSize, const uint8_t *txBuff, uint8_t txBuffSize);
status_t BOARD_Codec_I2C_Receive(
    uint8_t deviceAddress, uint32_t subAddress, uint8_t subAddressSize, uint8_t *rxBuff, uint8_t rxBuffSize);
void BOARD_Camera_I2C_Init(void);
status_t BOARD_Camera_I2C_Send(
    uint8_t deviceAddress, uint32_t subAddress, uint8_t subAddressSize, const uint8_t *txBuff, uint8_t txBuffSize);
status_t BOARD_Camera_I2C_Receive(
    uint8_t deviceAddress, uint32_t subAddress, uint8_t subAddressSize, uint8_t *rxBuff, uint8_t rxBuffSize);
status_t BOARD_Camera_I2C_SendSCCB(
    uint8_t deviceAddress, uint32_t subAddress, uint8_t subAddressSize, const uint8_t *txBuff, uint8_t txBuffSize);
status_t BOARD_Camera_I2C_ReceiveSCCB(
    uint8_t deviceAddress, uint32_t subAddress, uint8_t subAddressSize, uint8_t *rxBuff, uint8_t rxBuffSize);
void BOARD_MIPIPanelTouch_I2C_Init(void);
status_t BOARD_MIPIPanelTouch_I2C_Send(
    uint8_t deviceAddress, uint32_t subAddress, uint8_t subAddressSize, const uint8_t *txBuff, uint8_t txBuffSize);
status_t BOARD_MIPIPanelTouch_I2C_Receive(
    uint8_t deviceAddress, uint32_t subAddress, uint8_t subAddressSize, uint8_t *rxBuff, uint8_t rxBuffSize);
#endif /* SDK_I2C_BASED_COMPONENT_USED */
void BOARD_SD_Pin_Config(uint32_t speed, uint32_t strength);
void BOARD_MMC_Pin_Config(uint32_t speed, uint32_t strength);
#if defined(__cplusplus)
}
#endif /* __cplusplus */
#endif /* _BOARD_H_ */
```
